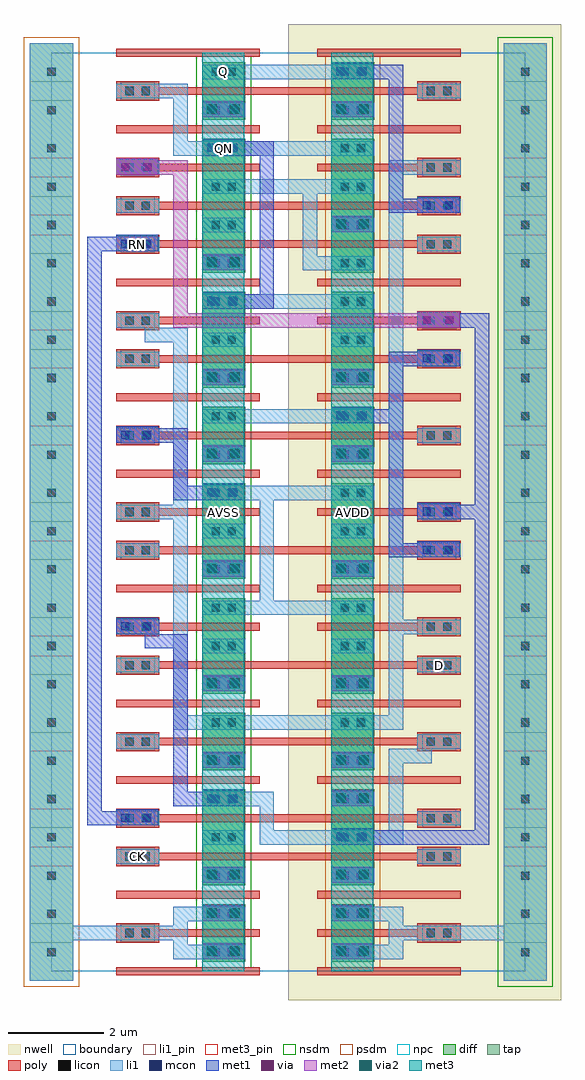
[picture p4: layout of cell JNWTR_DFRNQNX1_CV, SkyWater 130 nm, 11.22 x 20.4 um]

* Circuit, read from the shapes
.subckt JNWTR_DFRNQNX1_CV AVDD AVSS CK D Q QN RN
XM1 AVSS AVSS AVSS AVSS sky130_fd_pr__nfet_01v8 w=0.9 l=0.16
XM2 JNWTR_NDX1_CV_22/JNWTR_NCHDL_0/D CK AVSS AVSS sky130_fd_pr__nfet_01v8 w=0.9 l=0.16
XM3 JNWTR_IVX1_CV_24/A RN JNWTR_NDX1_CV_22/JNWTR_NCHDL_0/D AVSS sky130_fd_pr__nfet_01v8 w=0.9 l=0.16
XM4 JNWTR_IVTRIX1_CV_20/C JNWTR_IVX1_CV_24/A AVSS AVSS sky130_fd_pr__nfet_01v8 w=0.9 l=0.16
XM5 JNWTR_IVTRIX1_CV_19/JNWTR_NCHDL_0/D D AVSS AVSS sky130_fd_pr__nfet_01v8 w=0.9 l=0.16
XM6 JNWTR_IVX1_CV_25/A JNWTR_IVX1_CV_24/A JNWTR_IVTRIX1_CV_19/JNWTR_NCHDL_0/D AVSS sky130_fd_pr__nfet_01v8 w=0.9 l=0.16
XM7 JNWTR_IVTRIX1_CV_20/JNWTR_NCHDL_0/D JNWTR_IVTRIX1_CV_20/A AVSS AVSS sky130_fd_pr__nfet_01v8 w=0.9 l=0.16
XM8 JNWTR_IVX1_CV_25/A JNWTR_IVTRIX1_CV_20/C JNWTR_IVTRIX1_CV_20/JNWTR_NCHDL_0/D AVSS sky130_fd_pr__nfet_01v8 w=0.9 l=0.16
XM9 JNWTR_IVTRIX1_CV_20/A JNWTR_IVX1_CV_25/A AVSS AVSS sky130_fd_pr__nfet_01v8 w=0.9 l=0.16
XM10 JNWTR_IVTRIX1_CV_21/JNWTR_NCHDL_0/D JNWTR_IVTRIX1_CV_20/A AVSS AVSS sky130_fd_pr__nfet_01v8 w=0.9 l=0.16
XM11 QN JNWTR_IVTRIX1_CV_20/C JNWTR_IVTRIX1_CV_21/JNWTR_NCHDL_0/D AVSS sky130_fd_pr__nfet_01v8 w=0.9 l=0.16
XM12 JNWTR_NDTRIX1_CV_18/JNWTR_NCHDL_0/D RN AVSS AVSS sky130_fd_pr__nfet_01v8 w=0.9 l=0.16
XM13 JNWTR_NDTRIX1_CV_18/JNWTR_NCHDL_1/D Q JNWTR_NDTRIX1_CV_18/JNWTR_NCHDL_0/D AVSS sky130_fd_pr__nfet_01v8 w=0.9 l=0.16
XM14 QN JNWTR_IVX1_CV_24/A JNWTR_NDTRIX1_CV_18/JNWTR_NCHDL_1/D AVSS sky130_fd_pr__nfet_01v8 w=0.9 l=0.16
XM15 Q QN AVSS AVSS sky130_fd_pr__nfet_01v8 w=0.9 l=0.16
XM16 AVDD AVDD AVDD AVDD sky130_fd_pr__pfet_01v8 w=0.9 l=0.16
XM17 JNWTR_IVX1_CV_24/A CK AVDD AVDD sky130_fd_pr__pfet_01v8 w=0.9 l=0.16
XM18 AVDD RN JNWTR_IVX1_CV_24/A AVDD sky130_fd_pr__pfet_01v8 w=0.9 l=0.16
XM19 JNWTR_IVTRIX1_CV_20/C JNWTR_IVX1_CV_24/A AVDD AVDD sky130_fd_pr__pfet_01v8 w=0.9 l=0.16
XM20 JNWTR_IVTRIX1_CV_19/JNWTR_PCHDL_2/D D AVDD AVDD sky130_fd_pr__pfet_01v8 w=0.9 l=0.16
XM21 JNWTR_IVX1_CV_25/A JNWTR_IVTRIX1_CV_20/C JNWTR_IVTRIX1_CV_19/JNWTR_PCHDL_2/D AVDD sky130_fd_pr__pfet_01v8 w=0.9 l=0.16
XM22 JNWTR_IVTRIX1_CV_20/JNWTR_PCHDL_2/D JNWTR_IVTRIX1_CV_20/A AVDD AVDD sky130_fd_pr__pfet_01v8 w=0.9 l=0.16
XM23 JNWTR_IVX1_CV_25/A JNWTR_IVX1_CV_24/A JNWTR_IVTRIX1_CV_20/JNWTR_PCHDL_2/D AVDD sky130_fd_pr__pfet_01v8 w=0.9 l=0.16
XM24 JNWTR_IVTRIX1_CV_20/A JNWTR_IVX1_CV_25/A AVDD AVDD sky130_fd_pr__pfet_01v8 w=0.9 l=0.16
XM25 JNWTR_IVTRIX1_CV_21/JNWTR_PCHDL_2/D JNWTR_IVTRIX1_CV_20/A AVDD AVDD sky130_fd_pr__pfet_01v8 w=0.9 l=0.16
XM26 QN JNWTR_IVX1_CV_24/A JNWTR_IVTRIX1_CV_21/JNWTR_PCHDL_2/D AVDD sky130_fd_pr__pfet_01v8 w=0.9 l=0.16
XM27 AVDD RN JNWTR_NDTRIX1_CV_18/JNWTR_NCHDL_1/D AVDD sky130_fd_pr__pfet_01v8 w=0.9 l=0.16
XM28 JNWTR_NDTRIX1_CV_18/JNWTR_NCHDL_1/D Q AVDD AVDD sky130_fd_pr__pfet_01v8 w=0.9 l=0.16
XM29 QN JNWTR_IVTRIX1_CV_20/C JNWTR_NDTRIX1_CV_18/JNWTR_NCHDL_1/D AVDD sky130_fd_pr__pfet_01v8 w=0.9 l=0.16
XM30 Q QN AVDD AVDD sky130_fd_pr__pfet_01v8 w=0.9 l=0.16
.ends

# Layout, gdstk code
import gdstk
lib = gdstk.Library(unit=1e-6, precision=1e-09)
def R(c, l, rs):  # rectangles x0, y0, x1, y1
    for r in rs: c.add(gdstk.rectangle(r[:2], r[2:], *l))
def A(c, l, x, y, w, h, nx, ny, dx, dy):  # array of equal rectangles
    R(c, l, [(x+i*dx, y+j*dy, x+i*dx+w, y+j*dy+h) for i in range(nx) for j in range(ny)])
nwell = (64, 20)
diff = (65, 20)
tap = (65, 44)
poly = (66, 20)
licon = (66, 44)
li1_pin = (67, 16)
li1 = (67, 20)
mcon = (67, 44)
met1 = (68, 20)
via = (68, 44)
met2 = (69, 20)
via2 = (69, 44)
met3_pin = (70, 16)
met3 = (70, 20)
nsdm = (93, 44)
psdm = (94, 20)
npc = (95, 20)
boundary = (235, 4)

jnwtr_cut_m1m2_2x1 = lib.new_cell('JNWTR_cut_M1M2_2x1')
R(jnwtr_cut_m1m2_2x1, li1, [(0,0,0.84,0.32)])
R(jnwtr_cut_m1m2_2x1, mcon, [(0.105,0.075,0.275,0.245), (0.565,0.075,0.735,0.245)])
R(jnwtr_cut_m1m2_2x1, met1, [(0,0,0.88,0.34)])
R(jnwtr_cut_m1m2_2x1, boundary, [(0,0,0.88,0.34)])

jnwtr_cut_m1m3_2x1 = lib.new_cell('JNWTR_cut_M1M3_2x1')
R(jnwtr_cut_m1m3_2x1, li1, [(0,0,0.84,0.32)])
R(jnwtr_cut_m1m3_2x1, mcon, [(0.105,0.075,0.275,0.245), (0.565,0.075,0.735,0.245)])
R(jnwtr_cut_m1m3_2x1, met1, [(0,0,0.88,0.34)])
R(jnwtr_cut_m1m3_2x1, via, [(0.125,0.095,0.275,0.245), (0.605,0.095,0.755,0.245)])
R(jnwtr_cut_m1m3_2x1, met2, [(0,0,0.88,0.34)])
R(jnwtr_cut_m1m3_2x1, boundary, [(0,0,0.88,0.34)])

jnwtr_nchdl = lib.new_cell('JNWTR_NCHDL')
R(jnwtr_nchdl, diff, [(3.15,0.2,4.05,1.4)])
R(jnwtr_nchdl, tap, [(-0.45,-0.2,0.45,1.8)])
A(jnwtr_nchdl, poly, 1.35, -0.08, 3, 0.16, 1, 3, 0, 0.8)
R(jnwtr_nchdl, poly, [(1.35,0.6,2.25,0.72), (1.35,0.88,2.25,1)])
R(jnwtr_nchdl, licon, [(-0.085,0.315,0.085,0.485), (3.345,0.315,3.515,0.485), (3.685,0.315,3.855,0.485), (1.545,0.715,1.715,0.885), (1.885,0.715,2.055,0.885), (-0.085,1.115,0.085,1.285), (3.345,1.115,3.515,1.285), (3.685,1.115,3.855,1.285)])
R(jnwtr_nchdl, li1_pin, [(3.15,0.25,4.05,0.55), (-0.45,0.6,0.45,1), (1.35,0.65,2.25,0.95), (3.15,1.05,4.05,1.35)])
R(jnwtr_nchdl, li1, [(-0.45,-0.2,0.45,1.8), (3.15,0.25,4.05,0.55), (1.35,0.65,2.25,0.95), (3.15,1.05,4.05,1.35)])
R(jnwtr_nchdl, nsdm, [(3.025,0.075,4.175,1.525)])
R(jnwtr_nchdl, psdm, [(-0.575,-0.325,0.575,1.925)])
R(jnwtr_nchdl, npc, [(1.445,0.615,2.155,0.985)])
R(jnwtr_nchdl, boundary, [(0,0,4.95,1.6)])
jnwtr_nchdl.add(gdstk.Label('D', (3.6,1.2), layer=67, texttype=5))
jnwtr_nchdl.add(gdstk.Label('G', (1.8,0.8), layer=67, texttype=5))
jnwtr_nchdl.add(gdstk.Label('S', (3.6,0.4), layer=67, texttype=5))
jnwtr_nchdl.add(gdstk.Label('B', (0,0.8), layer=67, texttype=5))

jnwtr_pchdl = lib.new_cell('JNWTR_PCHDL')
R(jnwtr_pchdl, nwell, [(0,-0.6,5.7,2.2)])
R(jnwtr_pchdl, diff, [(0.9,0.2,1.8,1.4)])
R(jnwtr_pchdl, tap, [(4.5,-0.2,5.4,1.8)])
A(jnwtr_pchdl, poly, 0.6, -0.08, 3, 0.16, 1, 3, 0, 0.8)
R(jnwtr_pchdl, poly, [(2.7,0.6,3.6,0.72), (2.7,0.88,3.6,1)])
R(jnwtr_pchdl, licon, [(1.095,0.315,1.265,0.485), (1.435,0.315,1.605,0.485), (4.865,0.315,5.035,0.485), (2.895,0.715,3.065,0.885), (3.235,0.715,3.405,0.885), (1.095,1.115,1.265,1.285), (1.435,1.115,1.605,1.285), (4.865,1.115,5.035,1.285)])
R(jnwtr_pchdl, li1_pin, [(0.9,0.25,1.8,0.55), (4.5,0.6,5.4,1), (2.7,0.65,3.6,0.95), (0.9,1.05,1.8,1.35)])
R(jnwtr_pchdl, li1, [(4.5,-0.2,5.4,1.8), (0.9,0.25,1.8,0.55), (2.7,0.65,3.6,0.95), (0.9,1.05,1.8,1.35)])
R(jnwtr_pchdl, nsdm, [(4.375,-0.325,5.525,1.925)])
R(jnwtr_pchdl, psdm, [(0.775,0.075,1.925,1.525)])
R(jnwtr_pchdl, npc, [(2.795,0.615,3.505,0.985)])
R(jnwtr_pchdl, boundary, [(0,0,4.95,1.6)])
jnwtr_pchdl.add(gdstk.Label('D', (1.35,1.2), layer=67, texttype=5))
jnwtr_pchdl.add(gdstk.Label('G', (3.15,0.8), layer=67, texttype=5))
jnwtr_pchdl.add(gdstk.Label('S', (1.35,0.4), layer=67, texttype=5))
jnwtr_pchdl.add(gdstk.Label('B', (4.95,0.8), layer=67, texttype=5))

jnwtr_cut_m1m4_2x1 = lib.new_cell('JNWTR_cut_M1M4_2x1')
R(jnwtr_cut_m1m4_2x1, li1, [(0,0,0.84,0.32)])
R(jnwtr_cut_m1m4_2x1, mcon, [(0.105,0.075,0.275,0.245), (0.565,0.075,0.735,0.245)])
R(jnwtr_cut_m1m4_2x1, met1, [(0,0,0.88,0.34)])
R(jnwtr_cut_m1m4_2x1, via, [(0.125,0.095,0.275,0.245), (0.605,0.095,0.755,0.245)])
R(jnwtr_cut_m1m4_2x1, met2, [(0,0,0.88,0.34)])
R(jnwtr_cut_m1m4_2x1, via2, [(0.1,0.07,0.3,0.27), (0.58,0.07,0.78,0.27)])
R(jnwtr_cut_m1m4_2x1, met3, [(0,0,0.88,0.34)])
R(jnwtr_cut_m1m4_2x1, boundary, [(0,0,0.88,0.34)])

jnwtr_ndtrix1_cv = lib.new_cell('JNWTR_NDTRIX1_CV')
R(jnwtr_ndtrix1_cv, poly, [(1.35,0.72,8.55,0.88), (1.35,1.52,8.55,1.68)])
A(jnwtr_ndtrix1_cv, li1_pin, 1.35, 0.65, 0.9, 0.3, 1, 3, 0, 0.8)
R(jnwtr_ndtrix1_cv, li1_pin, [(7.65,2.25,8.55,2.55), (3.15,2.65,4.05,2.95)])
A(jnwtr_ndtrix1_cv, li1, 1.35, 0.65, 0.9, 0.3, 1, 3, 0, 0.8)
R(jnwtr_ndtrix1_cv, li1, [(5.25,0.25,6.3,0.55), (5.25,0.55,5.55,1.85), (3.45,1.05,3.75,1.35), (3.15,1.85,6.75,2.15), (7.65,2.25,8.55,2.55), (3.15,2.65,6.3,2.95)])
R(jnwtr_ndtrix1_cv, met3_pin, [(3.15,0,4.03,3.2), (5.85,0,6.73,3.2)])
R(jnwtr_ndtrix1_cv, met3, [(3.15,0,4.03,3.2), (5.85,0,6.73,3.2)])
R(jnwtr_ndtrix1_cv, boundary, [(0,0,9.9,3.2)])
jnwtr_ndtrix1_cv.add(gdstk.Reference(jnwtr_nchdl, (0,0)))
jnwtr_ndtrix1_cv.add(gdstk.Reference(jnwtr_nchdl, (0,0.8)))
jnwtr_ndtrix1_cv.add(gdstk.Reference(jnwtr_nchdl, (0,1.6)))
jnwtr_ndtrix1_cv.add(gdstk.Reference(jnwtr_pchdl, (4.95,0)))
jnwtr_ndtrix1_cv.add(gdstk.Reference(jnwtr_pchdl, (4.95,0.8)))
jnwtr_ndtrix1_cv.add(gdstk.Reference(jnwtr_pchdl, (4.95,1.6)))
jnwtr_ndtrix1_cv.add(gdstk.Reference(jnwtr_cut_m1m4_2x1, (5.85,1.05)))
jnwtr_ndtrix1_cv.add(gdstk.Reference(jnwtr_cut_m1m4_2x1, (5.85,1.05)))
jnwtr_ndtrix1_cv.add(gdstk.Reference(jnwtr_cut_m1m4_2x1, (3.15,0.25)))
jnwtr_ndtrix1_cv.add(gdstk.Label('A', (1.8,1.6), layer=67, texttype=5))
jnwtr_ndtrix1_cv.add(gdstk.Label('C', (1.8,2.4), layer=67, texttype=5))
jnwtr_ndtrix1_cv.add(gdstk.Label('CN', (8.1,2.4), layer=67, texttype=5))
jnwtr_ndtrix1_cv.add(gdstk.Label('RN', (1.8,0.8), layer=67, texttype=5))
jnwtr_ndtrix1_cv.add(gdstk.Label('Y', (3.6,2.8), layer=67, texttype=5))
jnwtr_ndtrix1_cv.add(gdstk.Label('AVDD', (6.29,1.6), layer=70, texttype=5))
jnwtr_ndtrix1_cv.add(gdstk.Label('AVSS', (3.59,1.6), layer=70, texttype=5))

jnwtr_ivtrix1_cv = lib.new_cell('JNWTR_IVTRIX1_CV')
R(jnwtr_ivtrix1_cv, poly, [(1.35,0.72,8.55,0.88)])
R(jnwtr_ivtrix1_cv, li1_pin, [(1.35,0.65,2.25,0.95), (1.35,1.45,2.25,1.75), (7.65,1.45,8.55,1.75), (3.15,1.85,4.05,2.15)])
R(jnwtr_ivtrix1_cv, li1, [(1.35,0.65,2.25,0.95), (3.45,1.05,3.75,1.35), (6.15,1.05,6.45,1.35), (1.35,1.45,2.25,1.75), (7.65,1.45,8.55,1.75), (3.15,1.85,6.3,2.15)])
R(jnwtr_ivtrix1_cv, met3_pin, [(3.15,0,4.03,2.4), (5.85,0,6.73,2.4)])
R(jnwtr_ivtrix1_cv, met3, [(3.15,0,4.03,2.4), (5.85,0,6.73,2.4)])
R(jnwtr_ivtrix1_cv, boundary, [(0,0,9.9,2.4)])
jnwtr_ivtrix1_cv.add(gdstk.Reference(jnwtr_nchdl, (0,0)))
jnwtr_ivtrix1_cv.add(gdstk.Reference(jnwtr_nchdl, (0,0.8)))
jnwtr_ivtrix1_cv.add(gdstk.Reference(jnwtr_pchdl, (4.95,0)))
jnwtr_ivtrix1_cv.add(gdstk.Reference(jnwtr_pchdl, (4.95,0.8)))
jnwtr_ivtrix1_cv.add(gdstk.Reference(jnwtr_cut_m1m4_2x1, (5.85,0.25)))
jnwtr_ivtrix1_cv.add(gdstk.Reference(jnwtr_cut_m1m4_2x1, (3.15,0.25)))
jnwtr_ivtrix1_cv.add(gdstk.Label('A', (1.8,0.8), layer=67, texttype=5))
jnwtr_ivtrix1_cv.add(gdstk.Label('C', (1.8,1.6), layer=67, texttype=5))
jnwtr_ivtrix1_cv.add(gdstk.Label('CN', (8.1,1.6), layer=67, texttype=5))
jnwtr_ivtrix1_cv.add(gdstk.Label('Y', (3.6,2), layer=67, texttype=5))
jnwtr_ivtrix1_cv.add(gdstk.Label('AVDD', (6.29,1.2), layer=70, texttype=5))
jnwtr_ivtrix1_cv.add(gdstk.Label('AVSS', (3.59,1.2), layer=70, texttype=5))

jnwtr_ndx1_cv = lib.new_cell('JNWTR_NDX1_CV')
R(jnwtr_ndx1_cv, poly, [(1.35,0.72,8.55,0.88), (1.35,1.52,8.55,1.68)])
R(jnwtr_ndx1_cv, li1_pin, [(1.35,0.65,2.25,0.95), (1.35,1.45,2.25,1.75), (3.15,1.85,4.05,2.15)])
R(jnwtr_ndx1_cv, li1, [(1.35,0.65,2.25,0.95), (3.45,1.05,3.75,1.35), (4.35,1.05,6.3,1.35), (4.35,1.35,4.65,1.85), (1.35,1.45,2.25,1.75), (3.15,1.85,4.65,2.15)])
R(jnwtr_ndx1_cv, met3_pin, [(3.15,0,4.03,2.4), (5.85,0,6.73,2.4)])
R(jnwtr_ndx1_cv, met3, [(3.15,0,4.03,2.4), (5.85,0,6.73,2.4)])
R(jnwtr_ndx1_cv, boundary, [(0,0,9.9,2.4)])
jnwtr_ndx1_cv.add(gdstk.Reference(jnwtr_nchdl, (0,0)))
jnwtr_ndx1_cv.add(gdstk.Reference(jnwtr_nchdl, (0,0.8)))
jnwtr_ndx1_cv.add(gdstk.Reference(jnwtr_pchdl, (4.95,0)))
jnwtr_ndx1_cv.add(gdstk.Reference(jnwtr_pchdl, (4.95,0.8)))
jnwtr_ndx1_cv.add(gdstk.Reference(jnwtr_cut_m1m4_2x1, (5.85,0.25)))
jnwtr_ndx1_cv.add(gdstk.Reference(jnwtr_cut_m1m4_2x1, (5.85,1.85)))
jnwtr_ndx1_cv.add(gdstk.Reference(jnwtr_cut_m1m4_2x1, (3.15,0.25)))
jnwtr_ndx1_cv.add(gdstk.Label('A', (1.8,0.8), layer=67, texttype=5))
jnwtr_ndx1_cv.add(gdstk.Label('B', (1.8,1.6), layer=67, texttype=5))
jnwtr_ndx1_cv.add(gdstk.Label('Y', (3.6,2), layer=67, texttype=5))
jnwtr_ndx1_cv.add(gdstk.Label('AVDD', (6.29,1.2), layer=70, texttype=5))
jnwtr_ndx1_cv.add(gdstk.Label('AVSS', (3.59,1.2), layer=70, texttype=5))

jnwtr_tapcellb_cv = lib.new_cell('JNWTR_TAPCELLB_CV')
R(jnwtr_tapcellb_cv, li1, [(2.55,0.25,3.6,0.55), (6.3,0.25,7.35,0.55), (2.55,0.55,2.85,0.65), (7.05,0.55,7.35,0.65), (-0.45,0.65,2.85,0.95), (7.05,0.65,10.35,0.95), (2.55,0.95,2.85,1.05), (7.05,0.95,7.35,1.05), (2.55,1.05,3.6,1.35), (6.3,1.05,7.35,1.35)])
R(jnwtr_tapcellb_cv, met3_pin, [(3.15,0,4.03,1.6), (5.85,0,6.73,1.6)])
R(jnwtr_tapcellb_cv, met3, [(3.15,0,4.03,1.6), (5.85,0,6.73,1.6)])
R(jnwtr_tapcellb_cv, boundary, [(0,0,9.9,1.6)])
jnwtr_tapcellb_cv.add(gdstk.Reference(jnwtr_nchdl, (0,0)))
jnwtr_tapcellb_cv.add(gdstk.Reference(jnwtr_pchdl, (4.95,0)))
jnwtr_tapcellb_cv.add(gdstk.Reference(jnwtr_cut_m1m4_2x1, (5.85,1.05)))
jnwtr_tapcellb_cv.add(gdstk.Reference(jnwtr_cut_m1m4_2x1, (5.85,0.25)))
jnwtr_tapcellb_cv.add(gdstk.Reference(jnwtr_cut_m1m4_2x1, (3.15,1.05)))
jnwtr_tapcellb_cv.add(gdstk.Reference(jnwtr_cut_m1m4_2x1, (3.15,0.25)))
jnwtr_tapcellb_cv.add(gdstk.Label('AVDD', (6.29,0.8), layer=70, texttype=5))
jnwtr_tapcellb_cv.add(gdstk.Label('AVSS', (3.59,0.8), layer=70, texttype=5))

jnwtr_ivx1_cv = lib.new_cell('JNWTR_IVX1_CV')
R(jnwtr_ivx1_cv, poly, [(1.35,0.72,8.55,0.88)])
R(jnwtr_ivx1_cv, li1_pin, [(1.35,0.65,2.25,0.95), (3.15,1.05,4.05,1.35)])
R(jnwtr_ivx1_cv, li1, [(1.35,0.65,2.25,0.95), (3.15,1.05,6.3,1.35)])
R(jnwtr_ivx1_cv, met3_pin, [(3.15,0,4.03,1.6), (5.85,0,6.73,1.6)])
R(jnwtr_ivx1_cv, met3, [(3.15,0,4.03,1.6), (5.85,0,6.73,1.6)])
R(jnwtr_ivx1_cv, boundary, [(0,0,9.9,1.6)])
jnwtr_ivx1_cv.add(gdstk.Reference(jnwtr_nchdl, (0,0)))
jnwtr_ivx1_cv.add(gdstk.Reference(jnwtr_pchdl, (4.95,0)))
jnwtr_ivx1_cv.add(gdstk.Reference(jnwtr_cut_m1m4_2x1, (5.85,0.25)))
jnwtr_ivx1_cv.add(gdstk.Reference(jnwtr_cut_m1m4_2x1, (3.15,0.25)))
jnwtr_ivx1_cv.add(gdstk.Label('A', (1.8,0.8), layer=67, texttype=5))
jnwtr_ivx1_cv.add(gdstk.Label('Y', (3.6,1.2), layer=67, texttype=5))
jnwtr_ivx1_cv.add(gdstk.Label('AVDD', (6.29,0.8), layer=70, texttype=5))
jnwtr_ivx1_cv.add(gdstk.Label('AVSS', (3.59,0.8), layer=70, texttype=5))

jnwtr_dfrnqnx1_cv = lib.new_cell('JNWTR_DFRNQNX1_CV')
R(jnwtr_dfrnqnx1_cv, li1_pin, [(1.35,2.25,2.25,2.55), (7.65,6.25,8.55,6.55), (1.35,15.05,2.25,15.35), (3.15,17.05,4.05,17.35), (3.15,18.65,4.05,18.95)])
R(jnwtr_dfrnqnx1_cv, li1, [(1.35,2.25,2.25,2.55), (6.3,2.65,7.35,2.95), (7.05,2.95,7.35,4.35), (7.05,4.35,7.95,4.65), (7.65,4.65,8.1,4.95), (2.55,5.05,3.6,5.35), (6.3,5.05,7.35,5.35), (2.55,5.35,2.85,9.45), (7.05,5.35,7.35,7.05), (7.65,6.25,8.55,6.55), (7.05,7.05,8.1,7.35), (7.05,7.35,7.35,16.65), (3.6,7.45,4.65,7.75), (4.35,7.75,4.65,9.85), (1.8,9.45,2.85,9.75), (2.55,9.75,2.85,13.15), (3.6,9.85,4.65,10.15), (1.95,13.15,2.85,13.45), (1.8,13.45,2.25,13.75), (1.35,15.05,2.25,15.35), (7.05,16.65,8.1,16.95), (2.55,17.05,4.05,17.35), (2.55,17.35,2.85,18.25), (1.8,18.25,2.85,18.55), (3.15,18.65,4.05,18.95)])
R(jnwtr_dfrnqnx1_cv, met1, [(6.3,2.65,9.15,2.95), (8.85,2.95,9.15,9.45), (0.75,3.05,1.8,3.35), (0.75,3.35,1.05,15.05), (2.55,3.45,3.6,3.75), (2.55,3.75,2.85,6.75), (1.95,6.75,2.85,7.05), (1.8,7.05,2.25,7.35), (7.05,8.65,8.1,8.95), (7.05,8.95,7.35,11.45), (8.1,9.45,9.15,9.75), (8.85,9.75,9.15,13.45), (2.55,9.85,3.6,10.15), (2.55,10.15,2.85,11.05), (1.8,11.05,2.85,11.35), (6.3,11.45,7.35,11.75), (7.05,11.75,7.35,12.65), (7.05,12.65,8.1,12.95), (8.1,13.45,9.15,13.75), (3.6,13.85,4.65,14.15), (4.35,14.15,4.65,17.05), (0.75,15.05,1.8,15.35), (7.05,15.85,8.1,16.15), (7.05,16.15,7.35,18.65), (3.6,17.05,4.65,17.35), (6.3,18.65,7.35,18.95)])
R(jnwtr_dfrnqnx1_cv, met2, [(2.55,13.45,8.1,13.75), (2.55,13.75,2.85,16.65), (1.8,16.65,2.85,16.95)])
R(jnwtr_dfrnqnx1_cv, met3_pin, [(3.15,0,4.03,19.2), (5.85,0,6.73,19.2)])
R(jnwtr_dfrnqnx1_cv, met3, [(3.15,0,4.03,19.2), (5.85,0,6.73,19.2)])
A(jnwtr_dfrnqnx1_cv, nsdm, 3.025, 5.525, 1.15, 0.15, 1, 3, 0, 2.4)
R(jnwtr_dfrnqnx1_cv, nsdm, [(3.025,1.525,4.175,1.675), (3.025,3.925,4.175,4.075), (3.025,11.925,4.175,12.075), (3.025,14.325,4.175,14.475), (3.025,17.525,4.175,17.675)])
A(jnwtr_dfrnqnx1_cv, psdm, 5.725, 5.525, 1.15, 0.15, 1, 3, 0, 2.4)
R(jnwtr_dfrnqnx1_cv, psdm, [(5.725,1.525,6.875,1.675), (5.725,3.925,6.875,4.075), (5.725,11.925,6.875,12.075), (5.725,14.325,6.875,14.475), (5.725,17.525,6.875,17.675)])
R(jnwtr_dfrnqnx1_cv, boundary, [(0,0,9.9,19.2)])
jnwtr_dfrnqnx1_cv.add(gdstk.Reference(jnwtr_cut_m1m2_2x1, (7.65,9.45)))
jnwtr_dfrnqnx1_cv.add(gdstk.Reference(jnwtr_cut_m1m2_2x1, (7.65,13.45)))
jnwtr_dfrnqnx1_cv.add(gdstk.Reference(jnwtr_cut_m1m2_2x1, (5.85,2.65)))
jnwtr_dfrnqnx1_cv.add(gdstk.Reference(jnwtr_cut_m1m2_2x1, (1.35,7.05)))
jnwtr_dfrnqnx1_cv.add(gdstk.Reference(jnwtr_cut_m1m2_2x1, (3.15,3.45)))
jnwtr_dfrnqnx1_cv.add(gdstk.Reference(jnwtr_cut_m1m2_2x1, (3.15,13.85)))
jnwtr_dfrnqnx1_cv.add(gdstk.Reference(jnwtr_cut_m1m2_2x1, (3.15,17.05)))
jnwtr_dfrnqnx1_cv.add(gdstk.Reference(jnwtr_cut_m1m2_2x1, (1.35,11.05)))
jnwtr_dfrnqnx1_cv.add(gdstk.Reference(jnwtr_cut_m1m2_2x1, (3.15,9.85)))
jnwtr_dfrnqnx1_cv.add(gdstk.Reference(jnwtr_cut_m1m2_2x1, (5.85,11.45)))
jnwtr_dfrnqnx1_cv.add(gdstk.Reference(jnwtr_cut_m1m2_2x1, (7.65,8.65)))
jnwtr_dfrnqnx1_cv.add(gdstk.Reference(jnwtr_cut_m1m2_2x1, (7.65,12.65)))
jnwtr_dfrnqnx1_cv.add(gdstk.Reference(jnwtr_cut_m1m2_2x1, (5.85,18.65)))
jnwtr_dfrnqnx1_cv.add(gdstk.Reference(jnwtr_cut_m1m2_2x1, (7.65,15.85)))
jnwtr_dfrnqnx1_cv.add(gdstk.Reference(jnwtr_cut_m1m2_2x1, (1.35,3.05)))
jnwtr_dfrnqnx1_cv.add(gdstk.Reference(jnwtr_cut_m1m2_2x1, (1.35,15.05)))
jnwtr_dfrnqnx1_cv.add(gdstk.Reference(jnwtr_cut_m1m3_2x1, (1.35,16.65)))
jnwtr_dfrnqnx1_cv.add(gdstk.Reference(jnwtr_cut_m1m3_2x1, (7.65,13.45)))
jnwtr_dfrnqnx1_cv.add(gdstk.Reference(jnwtr_ndtrix1_cv, (0,14.4)))
jnwtr_dfrnqnx1_cv.add(gdstk.Reference(jnwtr_ivtrix1_cv, (0,5.6)))
jnwtr_dfrnqnx1_cv.add(gdstk.Reference(jnwtr_ivtrix1_cv, (0,8)))
jnwtr_dfrnqnx1_cv.add(gdstk.Reference(jnwtr_ivtrix1_cv, (0,12)))
jnwtr_dfrnqnx1_cv.add(gdstk.Reference(jnwtr_ndx1_cv, (0,1.6)))
jnwtr_dfrnqnx1_cv.add(gdstk.Reference(jnwtr_tapcellb_cv, (0,0)))
jnwtr_dfrnqnx1_cv.add(gdstk.Reference(jnwtr_ivx1_cv, (0,4)))
jnwtr_dfrnqnx1_cv.add(gdstk.Reference(jnwtr_ivx1_cv, (0,10.4)))
jnwtr_dfrnqnx1_cv.add(gdstk.Reference(jnwtr_ivx1_cv, (0,17.6)))
jnwtr_dfrnqnx1_cv.add(gdstk.Label('D', (8.1,6.4), layer=67, texttype=5))
jnwtr_dfrnqnx1_cv.add(gdstk.Label('CK', (1.8,2.4), layer=67, texttype=5))
jnwtr_dfrnqnx1_cv.add(gdstk.Label('RN', (1.8,15.2), layer=67, texttype=5))
jnwtr_dfrnqnx1_cv.add(gdstk.Label('Q', (3.6,18.8), layer=67, texttype=5))
jnwtr_dfrnqnx1_cv.add(gdstk.Label('QN', (3.6,17.2), layer=67, texttype=5))
jnwtr_dfrnqnx1_cv.add(gdstk.Label('AVDD', (6.29,9.6), layer=70, texttype=5))
jnwtr_dfrnqnx1_cv.add(gdstk.Label('AVSS', (3.59,9.6), layer=70, texttype=5))

lib.write_gds('JNWTR_DFRNQNX1_CV.gds')
